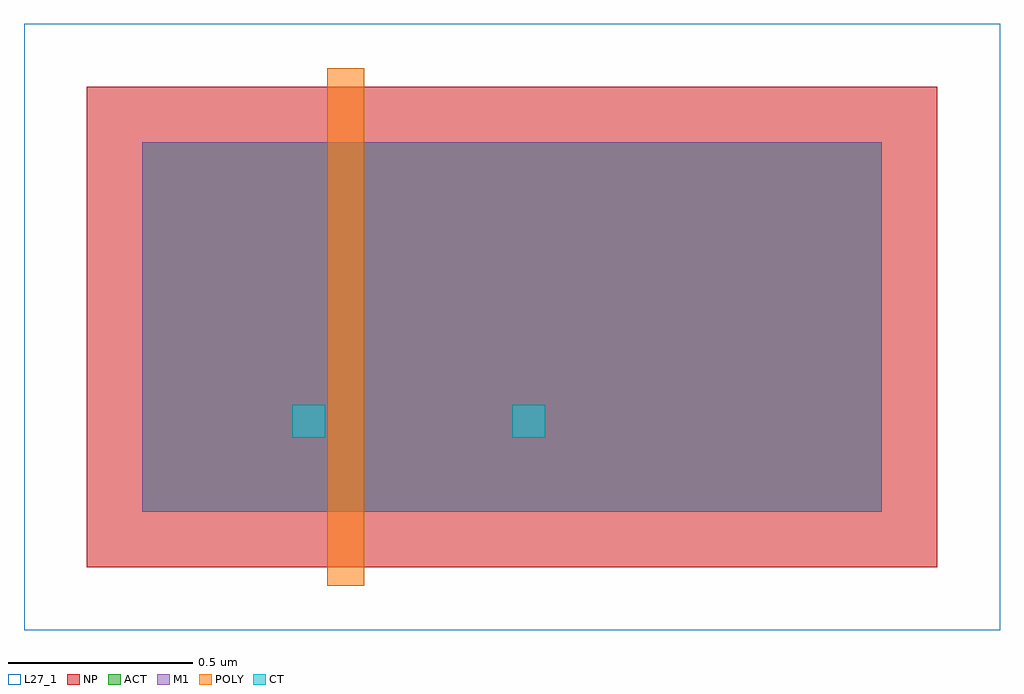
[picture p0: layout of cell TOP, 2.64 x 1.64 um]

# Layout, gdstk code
import gdstk
lib = gdstk.Library(unit=1e-6, precision=1e-09)
def R(c, l, rs):  # rectangles x0, y0, x1, y1
    for r in rs: c.add(gdstk.rectangle(r[:2], r[2:], *l))
ACT = (2, 1)
L27_1 = (27, 1)
POLY = (41, 1)
NP = (52, 1)
CT = (72, 1)
M1 = (81, 1)

top = lib.new_cell('TOP')
R(top, ACT, [(0,0,2,1)])
R(top, L27_1, [(-0.32,-0.32,2.32,1.32)])
R(top, POLY, [(0.5,-0.2,0.6,1.2)])
R(top, NP, [(-0.15,-0.15,2.15,1.15)])
R(top, CT, [(0.405,0.2,0.495,0.29), (1,0.2,1.09,0.29)])
R(top, M1, [(0,0,2,1)])

lib.write_gds('TOP.gds')
